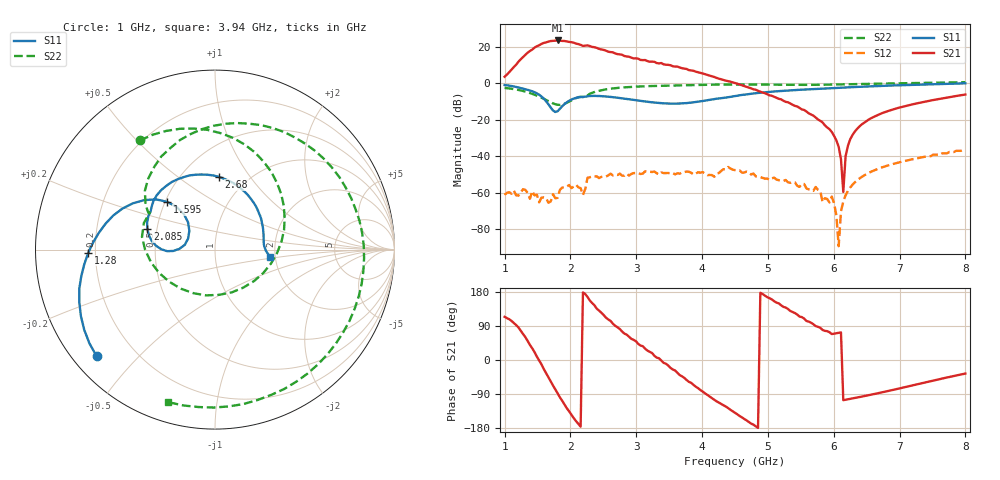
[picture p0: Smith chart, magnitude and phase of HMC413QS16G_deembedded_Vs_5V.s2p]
!Hittite Microwave Corporation
!12 Elizabeth Drive
!Chelmsford, MA 01824
!Tel: 978-250-3343
!Fax: 978-250-3373
!Device: HMC413QS8G, 1.7-2.2 GHz GaAs InGap HBT MMIC Power Amplifier in 16-lead Grounded Base surface Mount Plastic Package
!Misc: Input reference is the input pin of the device, output reference is the last component on output line, Vs=5V, Vpd=3.6V, Room
# MHZ S MA R 50
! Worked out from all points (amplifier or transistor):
!   201 points, 1 GHz to 8 GHz, reference 50 ohm
!   highest |S21| = 23.4 dB at 1.805 GHz (marker M1)
!   |S21| within 3 dB of that: 1.501 GHz to 2.289 GHz (787.7 MHz wide, 41.6 % of centre)
!   unconditionally stable (mu >= 1): start of sweep to 7.009 GHz
!   at 2.155 GHz: K = 22.89, MAG = 22.6 dB, |S12| = -57.5 dB
!   at 4.5 GHz: K = 15.97, MAG = 8.8 dB, |S12| = -47.6 dB
!   at 8 GHz: K = -0.29, MSG = 15.1 dB, |S12| = -36.5 dB
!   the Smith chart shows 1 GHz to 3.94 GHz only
!   S11 on the Smith chart (normalised r, x): 1 GHz: 0.07, -0.38; 1.28 GHz: 0.17, -0.01; 1.595 GHz: 0.51, +0.32; 2.085 GHz: 0.44, +0.12; 2.68 GHz: 0.74, +0.72; 3.94 GHz: 1.88, -0.17
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1000  0.888 -138.0  1.494 114.0  0.0008712 92.5  0.738 124.4
1175  0.787 -163.9  3.198 92.4  0.00085 55.5  0.669 93.8
1280  0.706 -178.6  5.139 68.6  0.001252 34.0  0.609 74.5
1455  0.564 156.1  9.382 20.7  0.0008453 0.5  0.481 39.9
1595  0.377 135.0  12.59 -23.8  0.0007421 -48.0  0.373 6.8
1700  0.215 134.4  14.18 -56.2  0.0005742 -174.2  0.299 -25.8
1805  0.17 170.9  14.72 -87.8  0.0007235 109.1  0.256 -68.6
1945  0.299 179.7  13.84 -127.3  0.001455 84.2  0.289 -131.1
2085  0.393 163.2  12.09 -161.4  0.001654 65.1  0.389 -179.7
2190  0.417 149.3  10.43 178.4  0.0008696 59.2  0.418 150.5
2260  0.437 141.8  10.81 166.2  0.002574 72.9  0.461 147.1
2400  0.447 122.6  9.228 135.5  0.002808 29.0  0.599 120.0
2680  0.406 87.0  6.481 90.2  0.003128 -4.9  0.727 74.7
3030  0.333 47.1  4.653 42.5  0.003459 -35.4  0.806 25.5
3345  0.286 19.7  3.465 4.6  0.003149 -60.8  0.842 -17.9
3940  0.31 -7.7  1.983 -74.5  0.003641 -112.6  0.889 -107.0
4500  0.443 -33.8  1.006 -139.3  0.004154 -176.6  0.913 162.1
5690  0.688 -114.0  0.129 94.5  0.001122 99.9  0.897 -23.8
6145  0.756 -150.2  0.00105 -106.0  0.000579 -37.1  0.925 -97.6
6285  0.777 -161.1  0.038 -101.4  0.001654 19.1  0.936 -120.0
6845  0.855 157.7  0.177 -81.1  0.00573 -114.1  0.977 151.7
8000  0.986 79.0  0.487 -35.8  0.015 -3.0  1.062 -30.5
